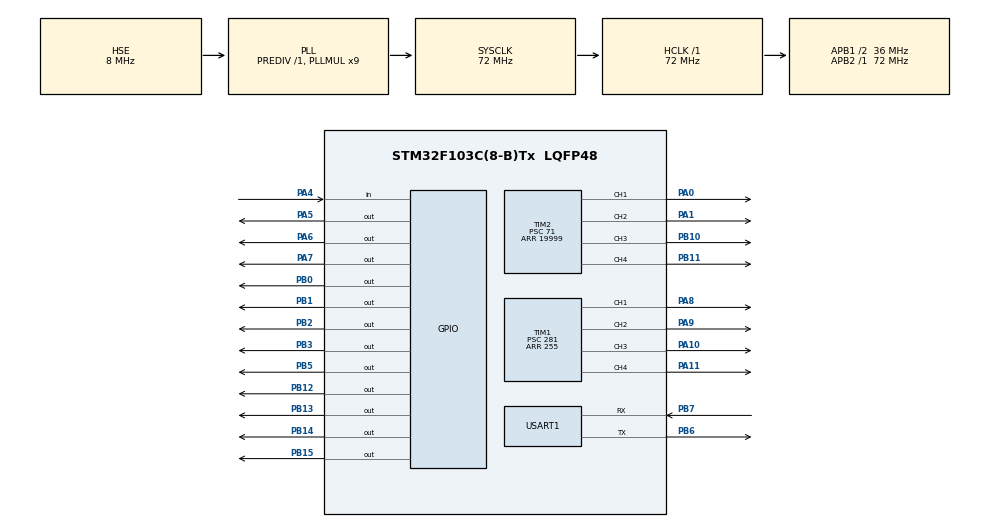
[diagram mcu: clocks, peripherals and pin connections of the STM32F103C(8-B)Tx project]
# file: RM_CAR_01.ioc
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Dma.Request0=USART1_TX
Dma.USART1_TX.0.Direction=DMA_MEMORY_TO_PERIPH
Dma.USART1_TX.0.Instance=DMA1_Channel4
Dma.USART1_TX.0.MemDataAlignment=DMA_MDATAALIGN_BYTE
Dma.USART1_TX.0.MemInc=DMA_MINC_ENABLE
Dma.USART1_TX.0.Mode=DMA_NORMAL
Dma.USART1_TX.0.PeriphDataAlignment=DMA_PDATAALIGN_BYTE
Dma.USART1_TX.0.PeriphInc=DMA_PINC_DISABLE
Dma.USART1_TX.0.Priority=DMA_PRIORITY_MEDIUM
Mcu.Family=STM32F1
Mcu.Name=STM32F103C(8-B)Tx
Mcu.Package=LQFP48
NVIC.DMA1_Channel4_IRQn=true\:0\:0\:false\:false\:true\:false\:true\:true
NVIC.PriorityGroup=NVIC_PRIORITYGROUP_2
NVIC.USART1_IRQn=true\:0\:0\:true\:false\:true\:true\:true\:true
PA0-WKUP.Signal=S_TIM2_CH1_ETR
PA1.Signal=S_TIM2_CH2
PA10.Signal=S_TIM1_CH3
PA11.Signal=S_TIM1_CH4
PA13.Mode=Serial_Wire
PA13.Signal=SYS_JTMS-SWDIO
PA14.Mode=Serial_Wire
PA14.Signal=SYS_JTCK-SWCLK
PA4.GPIO_PuPd=GPIO_PULLUP
PA4.Signal=GPIO_Input
PA5.GPIO_Speed=GPIO_SPEED_FREQ_HIGH
PA5.Signal=GPIO_Output
PA6.GPIO_Speed=GPIO_SPEED_FREQ_HIGH
PA6.Signal=GPIO_Output
PA7.GPIO_Speed=GPIO_SPEED_FREQ_HIGH
PA7.Signal=GPIO_Output
PA8.Signal=S_TIM1_CH1
PA9.Signal=S_TIM1_CH2
PB0.GPIO_Speed=GPIO_SPEED_FREQ_HIGH
PB0.Signal=GPIO_Output
PB1.GPIO_Speed=GPIO_SPEED_FREQ_HIGH
PB1.Signal=GPIO_Output
PB10.Signal=S_TIM2_CH3
PB11.Signal=S_TIM2_CH4
PB12.GPIO_Speed=GPIO_SPEED_FREQ_HIGH
PB12.Signal=GPIO_Output
PB13.GPIO_Speed=GPIO_SPEED_FREQ_HIGH
PB13.Signal=GPIO_Output
PB14.GPIO_Speed=GPIO_SPEED_FREQ_HIGH
PB14.Signal=GPIO_Output
PB15.GPIO_Speed=GPIO_SPEED_FREQ_HIGH
PB15.Signal=GPIO_Output
PB2.GPIO_Speed=GPIO_SPEED_FREQ_HIGH
PB2.Signal=GPIO_Output
PB3.GPIO_Speed=GPIO_SPEED_FREQ_HIGH
PB3.Signal=GPIO_Output
PB5.Signal=GPIO_Output
PB6.Mode=Asynchronous
PB6.Signal=USART1_TX
PB7.Mode=Asynchronous
PB7.Signal=USART1_RX
PC14-OSC32_IN.Mode=LSE-External-Oscillator
PC14-OSC32_IN.Signal=RCC_OSC32_IN
PC15-OSC32_OUT.Mode=LSE-External-Oscillator
PC15-OSC32_OUT.Signal=RCC_OSC32_OUT
PD0-OSC_IN.Mode=HSE-External-Oscillator
PD0-OSC_IN.Signal=RCC_OSC_IN
PD1-OSC_OUT.Mode=HSE-External-Oscillator
PD1-OSC_OUT.Signal=RCC_OSC_OUT
ProjectManager.HeapSize=0x200
ProjectManager.StackSize=0x400
ProjectManager.TargetToolchain=CMake
RCC.AHBFreq_Value=72000000
RCC.APB1CLKDivider=RCC_HCLK_DIV2
RCC.APB1Freq_Value=36000000
RCC.APB1TimFreq_Value=72000000
RCC.APB2Freq_Value=72000000
RCC.APB2TimFreq_Value=72000000
RCC.HCLKFreq_Value=72000000
RCC.PLLMUL=RCC_PLL_MUL9
RCC.PLLSourceVirtual=RCC_PLLSOURCE_HSE
RCC.SYSCLKFreq_VALUE=72000000
RCC.SYSCLKSource=RCC_SYSCLKSOURCE_PLLCLK
RCC.USBFreq_Value=72000000
SH.S_TIM1_CH1.0=TIM1_CH1,PWM Generation1 CH1
SH.S_TIM1_CH2.0=TIM1_CH2,PWM Generation2 CH2
SH.S_TIM1_CH3.0=TIM1_CH3,PWM Generation3 CH3
SH.S_TIM1_CH4.0=TIM1_CH4,PWM Generation4 CH4
SH.S_TIM2_CH1_ETR.0=TIM2_CH1,PWM Generation1 CH1
SH.S_TIM2_CH2.0=TIM2_CH2,PWM Generation2 CH2
SH.S_TIM2_CH3.0=TIM2_CH3,PWM Generation3 CH3
SH.S_TIM2_CH4.0=TIM2_CH4,PWM Generation4 CH4
TIM1.AutoReloadPreload=TIM_AUTORELOAD_PRELOAD_ENABLE
TIM1.Channel-PWM\ Generation1\ CH1=TIM_CHANNEL_1
TIM1.Channel-PWM\ Generation2\ CH2=TIM_CHANNEL_2
TIM1.Channel-PWM\ Generation3\ CH3=TIM_CHANNEL_3
TIM1.Channel-PWM\ Generation4\ CH4=TIM_CHANNEL_4
TIM1.Period=255
TIM1.Prescaler=281
TIM2.AutoReloadPreload=TIM_AUTORELOAD_PRELOAD_ENABLE
TIM2.Channel-PWM\ Generation1\ CH1=TIM_CHANNEL_1
TIM2.Channel-PWM\ Generation2\ CH2=TIM_CHANNEL_2
TIM2.Channel-PWM\ Generation3\ CH3=TIM_CHANNEL_3
TIM2.Channel-PWM\ Generation4\ CH4=TIM_CHANNEL_4
TIM2.Period=19999
TIM2.Prescaler=71
USART1.VirtualMode=VM_ASYNC
VP_TIM1_VS_ClockSourceINT.Mode=Internal
VP_TIM2_VS_ClockSourceINT.Mode=Internal
board=custom

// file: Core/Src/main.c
/* USER CODE BEGIN Header */
/**
  ******************************************************************************
  * @file           : main.c
  * @brief          : Main program body
  ******************************************************************************
  * @attention
  *
  * Copyright (c) 2025 STMicroelectronics.
  * All rights reserved.
  *
  * This software is licensed under terms that can be found in the LICENSE file
  * in the root directory of this software component.
  * If no LICENSE file comes with this software, it is provided AS-IS.
  *
  ******************************************************************************
  */
/* USER CODE END Header */
#include "main.h"
#include "dma.h"
#include "tim.h"
#include "usart.h"
#include "gpio.h"

/* USER CODE BEGIN Includes */
#include <stdio.h>
#include <stdlib.h>
#include <string.h>
#include "ax_delay.h"
#include "ax_ps2.h"
#include "ax_uart1.h"
#include "claw.h"
#include "debug_module.h"
#include "gimbal.h"
#include "move.h"
// #include "bluetooth.h"
/* USER CODE END Includes */

/* USER CODE BEGIN PV */
JOYSTICK_TypeDef joystick;
Motion_TypeDef motion;
Gimbal_TypeDef gimbal;
WaterBullet_TypeDef water_bullet;
Claw_TypeDef claw;
static uint32_t last_update_time = 0;
// uint16_t battery_voltage = 0; // 或一个合理的初始值，如 12000
/* USER CODE END PV */

void SystemClock_Config(void);
/* USER CODE BEGIN PFP */
void System_Init(void);

void PWM_Init();

void Debug_Output_Status(void);

void Steering_Engine_360(uint8_t direction, uint8_t speed);

static void DWT_Init(void);

void All_System_Center(void);

static void DWT_Delay_us(uint32_t us);

/* USER CODE END PFP */

/* USER CODE BEGIN 0 */
/*int fputc(int ch, FILE *f) {
    HAL_UART_Transmit(&huart1, (uint8_t *)&ch, 1, HAL_MAX_DELAY);
    return ch;

}
int fgetc(FILE *f) {
    uint8_t ch;
    HAL_UART_Receive(&huart1, &ch, 1, HAL_MAX_DELAY);
    return ch;
}*/
/* USER CODE END 0 */

int main(void)
{

  /* MCU Configuration--------------------------------------------------------*/

  /* Reset of all peripherals, Initializes the Flash interface and the Systick. */
  HAL_Init();

  /* Configure the system clock */
  SystemClock_Config();

  /* Initialize all configured peripherals */
  MX_GPIO_Init();
  MX_DMA_Init();
  MX_TIM1_Init();
  MX_TIM2_Init();
  MX_USART1_UART_Init();
  /* USER CODE BEGIN 2 */
    System_Init();
     /*调试模块初始化 */
    Debug_Module_Init(&debug_instance, &huart1);
    /* 设置输出级别为详细 */
    Debug_Module_SetLevel(&debug_instance, DEBUG_LEVEL_VERBOSE);
    /* 输出启动信息 */
    DEBUG_INFO("System Initialized");
    DEBUG_INFO("Clock: %lu Hz", HAL_RCC_GetHCLKFreq());
  /* USER CODE END 2 */

  /* Infinite loop */
  /* USER CODE BEGIN WHILE */
    HAL_Delay(1000);
    while (1) {
        AX_PS2_ScanKey(&joystick);

        uint32_t current_time = HAL_GetTick();
        if (joystick.mode == 0x41 || joystick.mode == 0x73 || joystick.mode == 0x79) {
            /*if(current_time - last_update_time >= 20) {

            }
            if(current_time - last_update_time >= 10) {
                Gimbal_Update(&gimbal);
                last_update_time = current_time;
            }*/
            // 运动控制
            Motion_ControlWithPS2(&motion,
                                  joystick.LJoy_UD,
                                  joystick.LJoy_LR,
                                  joystick.btn1,
                                  joystick.btn2);

            // 云台控制
            Gimbal_ControlWithPS2(&gimbal,
                              joystick.RJoy_UD,
                              joystick.RJoy_LR,
                              joystick.btn1,
                              joystick.btn2);
            last_update_time = current_time;

            // 水弹发射控制 - △按钮，按住发射
            WaterBullet_ControlWithPS2(&water_bullet, joystick.btn2);

            // 抓取控制 - ○按钮切换抓取，L2/R2控制升降
            Claw_ControlWithPS2(&claw, joystick.btn2);
        } else {
            // PS2断开保护
            Motion_Stop(&motion);
            WaterBullet_ControlWithPS2(&water_bullet, 0); // 发送0确保停止发射
            Claw_Lift_Stop(&claw); // 停止抓取机构
        }
        // 更新所有系统
        Gimbal_Update(&gimbal);
        Claw_Update(&claw);
        Debug_Output_RobotStatus(&joystick, &motion, &gimbal, &claw, &water_bullet);
        // Debug_Output_Status();
        HAL_Delay(20);

    /* USER CODE END WHILE */

    }
}

void SystemClock_Config(void)
{
  RCC_OscInitTypeDef RCC_OscInitStruct = {0};
  RCC_ClkInitTypeDef RCC_ClkInitStruct = {0};

  /** Initializes the RCC Oscillators according to the specified parameters
  * in the RCC_OscInitTypeDef structure.
  */
  RCC_OscInitStruct.OscillatorType = RCC_OSCILLATORTYPE_HSE;
  RCC_OscInitStruct.HSEState = RCC_HSE_ON;
  RCC_OscInitStruct.HSEPredivValue = RCC_HSE_PREDIV_DIV1;
  RCC_OscInitStruct.HSIState = RCC_HSI_ON;
  RCC_OscInitStruct.PLL.PLLState = RCC_PLL_ON;
  RCC_OscInitStruct.PLL.PLLSource = RCC_PLLSOURCE_HSE;
  RCC_OscInitStruct.PLL.PLLMUL = RCC_PLL_MUL9;
  if (HAL_RCC_OscConfig(&RCC_OscInitStruct) != HAL_OK)
  {
    Error_Handler();
  }

  /** Initializes the CPU, AHB and APB buses clocks
  */
  RCC_ClkInitStruct.ClockType = RCC_CLOCKTYPE_HCLK|RCC_CLOCKTYPE_SYSCLK
                              |RCC_CLOCKTYPE_PCLK1|RCC_CLOCKTYPE_PCLK2;
  RCC_ClkInitStruct.SYSCLKSource = RCC_SYSCLKSOURCE_PLLCLK;
  RCC_ClkInitStruct.AHBCLKDivider = RCC_SYSCLK_DIV1;
  RCC_ClkInitStruct.APB1CLKDivider = RCC_HCLK_DIV2;
  RCC_ClkInitStruct.APB2CLKDivider = RCC_HCLK_DIV1;

  if (HAL_RCC_ClockConfig(&RCC_ClkInitStruct, FLASH_LATENCY_2) != HAL_OK)
  {
    Error_Handler();
  }
}

/* USER CODE BEGIN 4 */
// 所有机构归中位置
void All_System_Center(void) {
    // 停止所有运动
    Motion_Stop(&motion);

    // 云台归中
    Gimbal_SetAngle(&gimbal, 90, 90);
    while(abs(gimbal.current_pitch - 90) > 2 ||
          abs(gimbal.current_yaw - 90) > 2) {
        Gimbal_Update(&gimbal);
        HAL_Delay(10);
          }

    // 机械臂归中
    Claw_Grip_Open(&claw);
    Claw_Lift_Stop(&claw);

    // 水弹停止
    WaterBullet_ControlWithPS2(&water_bullet, 0);

    HAL_Delay(500); // 等待稳定
}
void System_Init(void) {
    PWM_Init();
    AX_PS2_Init();
    AX_DELAY_Init();
    AX_UART1_Init(115200);
    DWT_Init();
    Motion_Init(&motion);
    Gimbal_Init(&gimbal, &htim2); // 使用TIM2控制云台舵机
    WaterBullet_Init(&water_bullet);
    Claw_Init(&claw, &htim2);
    //归中
    All_System_Center();
}
/*
static uint8_t uart_busy = 0;
void Debug_Output_Status(void) {
    static uint32_t last_debug = 0;

    char buff[200];  // 增大缓冲区确保安全

    // 检查UART是否空闲，避免数据覆盖
    if (uart_busy) {
        return;
    }

    // 每500ms输出一次状态
    if (HAL_GetTick() - last_debug > 500) {
        // 一次性构建所有输出
        int len = snprintf(buff, sizeof(buff),
            "=== Robot Status ===\r\n"
            "Motion: LF=%d RF=%d LB=%d RB=%d\r\n"
            "Gimbal: Pitch=%d Yaw=%d\r\n"
            "Claw: State=%d Lifting=%d\r\n"
            "PS2: Connected=%d Mode=0x%02X\r\n"
            "===================\r\n\r\n",
            motion.lf_motor.speed, motion.rf_motor.speed,
            motion.lb_motor.speed, motion.rb_motor.speed,
            gimbal.current_pitch, gimbal.current_yaw,
            claw.grip_state, claw.is_lifting,
            (joystick.mode == 0x41 || joystick.mode == 0x73 || joystick.mode == 0x79),
            joystick.mode);

        if (len > 0 && len < sizeof(buff)) {
            uart_busy = 1;
            HAL_StatusTypeDef status = HAL_UART_Transmit_IT(&huart1, (uint8_t*)buff, len);

            if (status != HAL_OK) {
                uart_busy = 0;  // 传输失败，重置标志
            } else {
                last_debug = HAL_GetTick();
            }
        }
    }
}

// 需要在UART传输完成中断回调中重置busy标志
void HAL_UART_TxCpltCallback(UART_HandleTypeDef *huart) {
    if (huart->Instance == huart1.Instance) {
        uart_busy = 0;  // 重置忙标志
    }
}
*/
void PWM_Init() {
    HAL_TIM_PWM_Start(&htim2, TIM_CHANNEL_1);
    HAL_TIM_PWM_Start(&htim2, TIM_CHANNEL_2);
    HAL_TIM_PWM_Start(&htim2, TIM_CHANNEL_3);
    HAL_TIM_PWM_Start(&htim2, TIM_CHANNEL_4);
}

static void DWT_Init(void) {
    CoreDebug->DEMCR |= CoreDebug_DEMCR_TRCENA_Msk;
    DWT->CYCCNT = 0;
    DWT->CTRL |= DWT_CTRL_CYCCNTENA_Msk;
}

static void DWT_Delay_us(uint32_t us) {
    uint32_t start = DWT->CYCCNT;
    uint32_t cycles = us * 72; // 72 MHz
    while ((DWT->CYCCNT - start) < cycles);
}

/* USER CODE END 4 */

void Error_Handler(void)
{
  /* USER CODE BEGIN Error_Handler_Debug */
    /* User can add his own implementation to report the HAL error return state */

    // 禁用中断，停止所有可能的中断触发
    __disable_irq();

    // 停止所有电机和动作以确保安全
    Motion_Stop(&motion);
    Claw_Lift_Stop(&claw);

    // 错误指示：快速闪烁PB12灯
    while (1) {
        // HAL_GPIO_TogglePin(GPIOA, GPIO_PIN_3);// 切换LED状态
        HAL_Delay(200); // 每200ms闪烁一次
    }
  /* USER CODE END Error_Handler_Debug */
}
